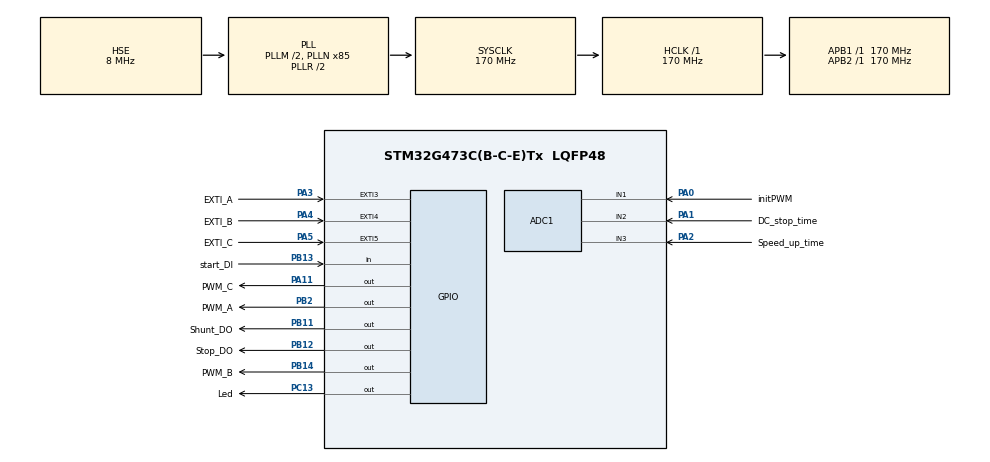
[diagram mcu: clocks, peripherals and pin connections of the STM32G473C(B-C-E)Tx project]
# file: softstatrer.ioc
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ADC1.Channel-0\#ChannelRegularConversion=ADC_CHANNEL_1
ADC1.Channel-1\#ChannelRegularConversion=ADC_CHANNEL_2
ADC1.Channel-2\#ChannelRegularConversion=ADC_CHANNEL_3
ADC1.NbrOfConversion=3
ADC1.NbrOfConversionFlag=1
ADC1.OffsetNumber-0\#ChannelRegularConversion=ADC_OFFSET_NONE
ADC1.OffsetNumber-1\#ChannelRegularConversion=ADC_OFFSET_NONE
ADC1.OffsetNumber-2\#ChannelRegularConversion=ADC_OFFSET_NONE
ADC1.Rank-0\#ChannelRegularConversion=1
ADC1.Rank-1\#ChannelRegularConversion=2
ADC1.Rank-2\#ChannelRegularConversion=3
ADC1.SamplingTime-0\#ChannelRegularConversion=ADC_SAMPLETIME_640CYCLES_5
ADC1.SamplingTime-1\#ChannelRegularConversion=ADC_SAMPLETIME_640CYCLES_5
ADC1.SamplingTime-2\#ChannelRegularConversion=ADC_SAMPLETIME_640CYCLES_5
ADC1.master=1
Dma.ADC1.0.Direction=DMA_PERIPH_TO_MEMORY
Dma.ADC1.0.EventEnable=DISABLE
Dma.ADC1.0.Instance=DMA1_Channel1
Dma.ADC1.0.MemDataAlignment=DMA_MDATAALIGN_HALFWORD
Dma.ADC1.0.MemInc=DMA_MINC_ENABLE
Dma.ADC1.0.Mode=DMA_NORMAL
Dma.ADC1.0.PeriphDataAlignment=DMA_PDATAALIGN_HALFWORD
Dma.ADC1.0.PeriphInc=DMA_PINC_DISABLE
Dma.ADC1.0.Polarity=HAL_DMAMUX_REQ_GEN_RISING
Dma.ADC1.0.Priority=DMA_PRIORITY_LOW
Dma.ADC1.0.RequestNumber=1
Dma.ADC1.0.SignalID=NONE
Dma.ADC1.0.SyncEnable=DISABLE
Dma.ADC1.0.SyncPolarity=HAL_DMAMUX_SYNC_NO_EVENT
Dma.ADC1.0.SyncRequestNumber=1
Dma.ADC1.0.SyncSignalID=NONE
Dma.Request0=ADC1
FREERTOS.Tasks01=mainTask,24,2048,StartmainTask,Default,NULL,Dynamic,NULL,NULL
FREERTOS.configTOTAL_HEAP_SIZE=65535
Mcu.Family=STM32G4
Mcu.Name=STM32G473C(B-C-E)Tx
Mcu.Package=LQFP48
NVIC.DMA1_Channel1_IRQn=true\:5\:0\:false\:false\:true\:true\:false\:true\:true
NVIC.EXTI3_IRQn=true\:5\:0\:false\:false\:true\:true\:true\:true\:true
NVIC.EXTI4_IRQn=true\:5\:0\:false\:false\:true\:true\:true\:true\:true
NVIC.EXTI9_5_IRQn=true\:5\:0\:false\:false\:true\:true\:true\:true\:true
NVIC.PriorityGroup=NVIC_PRIORITYGROUP_4
NVIC.TIM1_TRG_COM_TIM17_IRQn=true\:5\:0\:false\:false\:true\:true\:false\:true\:true
NVIC.TIM3_IRQn=true\:5\:0\:false\:false\:true\:true\:true\:true\:true
NVIC.TIM4_IRQn=true\:5\:0\:false\:false\:true\:true\:true\:true\:true
NVIC.TIM8_UP_IRQn=true\:5\:0\:false\:false\:true\:true\:true\:true\:true
NVIC.TimeBase=TIM1_TRG_COM_TIM17_IRQn
NVIC.TimeBaseIP=TIM17
PA0.GPIO_Label=initPWM
PA0.Mode=IN1-Single-Ended
PA0.Signal=ADC1_IN1
PA1.GPIO_Label=DC_stop_time
PA1.Mode=IN2-Single-Ended
PA1.Signal=ADC1_IN2
PA11.GPIO_Label=PWM_C
PA11.GPIO_ModeDefaultOutputPP=GPIO_MODE_OUTPUT_PP
PA11.GPIO_PuPd=GPIO_NOPULL
PA11.GPIO_Speed=GPIO_SPEED_FREQ_HIGH
PA11.PinState=GPIO_PIN_RESET
PA11.Signal=GPIO_Output
PA13.Mode=Trace_Asynchronous_SW
PA13.Signal=SYS_JTMS-SWDIO
PA14.Mode=Trace_Asynchronous_SW
PA14.Signal=SYS_JTCK-SWCLK
PA2.GPIO_Label=Speed_up_time
PA2.Mode=IN3-Single-Ended
PA2.Signal=ADC1_IN3
PA3.GPIO_Label=EXTI_A
PA3.GPIO_ModeDefaultEXTI=GPIO_MODE_IT_RISING_FALLING
PA3.Signal=GPXTI3
PA4.GPIO_Label=EXTI_B
PA4.GPIO_ModeDefaultEXTI=GPIO_MODE_IT_RISING_FALLING
PA4.Signal=GPXTI4
PA5.GPIO_Label=EXTI_C
PA5.GPIO_ModeDefaultEXTI=GPIO_MODE_IT_RISING_FALLING
PA5.Signal=GPXTI5
PB11.GPIO_Label=Shunt_DO
PB11.Signal=GPIO_Output
PB12.GPIO_Label=Stop_DO
PB12.Signal=GPIO_Output
PB13.GPIO_Label=start_DI
PB13.Signal=GPIO_Input
PB14.GPIO_Label=PWM_B
PB14.GPIO_ModeDefaultOutputPP=GPIO_MODE_OUTPUT_PP
PB14.GPIO_PuPd=GPIO_NOPULL
PB14.GPIO_Speed=GPIO_SPEED_FREQ_HIGH
PB14.PinState=GPIO_PIN_RESET
PB14.Signal=GPIO_Output
PB2.GPIO_Label=PWM_A
PB2.GPIO_ModeDefaultOutputPP=GPIO_MODE_OUTPUT_PP
PB2.GPIO_PuPd=GPIO_NOPULL
PB2.GPIO_Speed=GPIO_SPEED_FREQ_HIGH
PB2.PinState=GPIO_PIN_RESET
PB2.Signal=GPIO_Output
PB3.Mode=Trace_Asynchronous_SW
PB3.Signal=SYS_JTDO-SWO
PC13.GPIO_Label=Led
PC13.GPIO_ModeDefaultOutputPP=GPIO_MODE_OUTPUT_OD
PC13.GPIO_PuPd=GPIO_NOPULL
PC13.Signal=GPIO_Output
PF0-OSC_IN.Mode=HSE-External-Oscillator
PF0-OSC_IN.Signal=RCC_OSC_IN
PF1-OSC_OUT.Mode=HSE-External-Oscillator
PF1-OSC_OUT.Signal=RCC_OSC_OUT
ProjectManager.HeapSize=0x200
ProjectManager.StackSize=0x400
ProjectManager.TargetToolchain=EWARM V8.50
RCC.ADC12Freq_Value=170000000
RCC.ADC345Freq_Value=170000000
RCC.AHBFreq_Value=170000000
RCC.APB1Freq_Value=170000000
RCC.APB1TimFreq_Value=170000000
RCC.APB2Freq_Value=170000000
RCC.APB2TimFreq_Value=170000000
RCC.CortexFreq_Value=170000000
RCC.EXTERNAL_CLOCK_VALUE=12288000
RCC.HCLKFreq_Value=170000000
RCC.HSE_VALUE=8000000
RCC.HSI48_VALUE=48000000
RCC.HSI_VALUE=16000000
RCC.LSE_VALUE=32768
RCC.PLLM=RCC_PLLM_DIV2
RCC.PLLN=85
RCC.PLLSourceVirtual=RCC_PLLSOURCE_HSE
RCC.SYSCLKFreq_VALUE=170000000
RCC.SYSCLKSource=RCC_SYSCLKSOURCE_PLLCLK
RCC.USBFreq_Value=170000000
RCC.VCOOutputFreq_Value=340000000
TIM3.AutoReloadPreload=TIM_AUTORELOAD_PRELOAD_ENABLE
TIM3.PeriodNoDither=9000
TIM3.Prescaler=169
TIM4.AutoReloadPreload=TIM_AUTORELOAD_PRELOAD_ENABLE
TIM4.PeriodNoDither=9000
TIM4.Prescaler=169
TIM8.PeriodNoDither=9000
TIM8.Prescaler=169
VP_FREERTOS_VS_CMSIS_V2.Mode=CMSIS_V2
VP_SYS_VS_DBSignals.Mode=DisableDeadBatterySignals
VP_SYS_VS_tim17.Mode=TIM17
VP_TIM3_VS_ClockSourceINT.Mode=Internal
VP_TIM4_VS_ClockSourceINT.Mode=Internal
VP_TIM8_VS_ClockSourceINT.Mode=Internal
board=custom

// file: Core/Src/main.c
/* USER CODE BEGIN Header */
/**
  ******************************************************************************
  * @file           : main.c
  * @brief          : Main program body
  ******************************************************************************
  * @attention
  *
  * Copyright (c) 2025 STMicroelectronics.
  * All rights reserved.
  *
  * This software is licensed under terms that can be found in the LICENSE file
  * in the root directory of this software component.
  * If no LICENSE file comes with this software, it is provided AS-IS.
  *
  ******************************************************************************
  */
/* USER CODE END Header */
#include "main.h"
#include "cmsis_os.h"
#include "adc.h"
#include "dma.h"
#include "tim.h"
#include "gpio.h"

void SystemClock_Config(void);
void MX_FREERTOS_Init(void);

/* USER CODE BEGIN 0 */
  int __io_putchar(int ch)
  {
    // Write character to ITM ch.0
    ITM_SendChar(ch);
    return(ch);
  }
/* USER CODE END 0 */

int main(void)
{

  /* MCU Configuration--------------------------------------------------------*/

  /* Reset of all peripherals, Initializes the Flash interface and the Systick. */
  HAL_Init();

  /* Configure the system clock */
  SystemClock_Config();

  /* Initialize all configured peripherals */
  MX_GPIO_Init();
  MX_DMA_Init();
  MX_ADC1_Init();
  MX_TIM4_Init();
  MX_TIM3_Init();
  MX_TIM8_Init();

  /* Init scheduler */
  osKernelInitialize();

  /* Call init function for freertos objects (in cmsis_os2.c) */
  MX_FREERTOS_Init();

  /* Start scheduler */
  osKernelStart();

  /* We should never get here as control is now taken by the scheduler */

  /* Infinite loop */
  while (1)
  {

  }
}

void SystemClock_Config(void)
{
  RCC_OscInitTypeDef RCC_OscInitStruct = {0};
  RCC_ClkInitTypeDef RCC_ClkInitStruct = {0};

  /** Configure the main internal regulator output voltage
  */
  HAL_PWREx_ControlVoltageScaling(PWR_REGULATOR_VOLTAGE_SCALE1_BOOST);

  /** Initializes the RCC Oscillators according to the specified parameters
  * in the RCC_OscInitTypeDef structure.
  */
  RCC_OscInitStruct.OscillatorType = RCC_OSCILLATORTYPE_HSE;
  RCC_OscInitStruct.HSEState = RCC_HSE_ON;
  RCC_OscInitStruct.PLL.PLLState = RCC_PLL_ON;
  RCC_OscInitStruct.PLL.PLLSource = RCC_PLLSOURCE_HSE;
  RCC_OscInitStruct.PLL.PLLM = RCC_PLLM_DIV2;
  RCC_OscInitStruct.PLL.PLLN = 85;
  RCC_OscInitStruct.PLL.PLLP = RCC_PLLP_DIV2;
  RCC_OscInitStruct.PLL.PLLQ = RCC_PLLQ_DIV2;
  RCC_OscInitStruct.PLL.PLLR = RCC_PLLR_DIV2;
  if (HAL_RCC_OscConfig(&RCC_OscInitStruct) != HAL_OK)
  {
    Error_Handler();
  }

  /** Initializes the CPU, AHB and APB buses clocks
  */
  RCC_ClkInitStruct.ClockType = RCC_CLOCKTYPE_HCLK|RCC_CLOCKTYPE_SYSCLK
                              |RCC_CLOCKTYPE_PCLK1|RCC_CLOCKTYPE_PCLK2;
  RCC_ClkInitStruct.SYSCLKSource = RCC_SYSCLKSOURCE_PLLCLK;
  RCC_ClkInitStruct.AHBCLKDivider = RCC_SYSCLK_DIV1;
  RCC_ClkInitStruct.APB1CLKDivider = RCC_HCLK_DIV1;
  RCC_ClkInitStruct.APB2CLKDivider = RCC_HCLK_DIV1;

  if (HAL_RCC_ClockConfig(&RCC_ClkInitStruct, FLASH_LATENCY_4) != HAL_OK)
  {
    Error_Handler();
  }
}

void HAL_TIM_PeriodElapsedCallback(TIM_HandleTypeDef *htim)
{
  if (htim->Instance == TIM17) {
    HAL_IncTick();
  }
}

void Error_Handler(void)
{
  __disable_irq();
  while (1)
  {
  }
}

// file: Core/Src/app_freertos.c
/* USER CODE BEGIN Header */
/**
  ******************************************************************************
  * File Name          : app_freertos.c
  * Description        : Code for freertos applications
  ******************************************************************************
  * @attention
  *
  * Copyright (c) 2025 STMicroelectronics.
  * All rights reserved.
  *
  * This software is licensed under terms that can be found in the LICENSE file
  * in the root directory of this software component.
  * If no LICENSE file comes with this software, it is provided AS-IS.
  *
  ******************************************************************************
  */
/* USER CODE END Header */

#include "FreeRTOS.h"
#include "task.h"
#include "main.h"
#include "cmsis_os.h"

/* USER CODE BEGIN Includes */
extern ADC_HandleTypeDef hadc1;
DeviceStatus_t status=Device_Idle;
extern TIM_HandleTypeDef htim4;
extern TIM_HandleTypeDef htim3;
extern TIM_HandleTypeDef htim8;
uint16_t ARR_TIM=9000;
/* USER CODE END Includes */

/* USER CODE BEGIN PTD */
void SetPWMAll(uint16_t pwm);
/* USER CODE END PTD */

/* Definitions for mainTask */
osThreadId_t mainTaskHandle;
const osThreadAttr_t mainTask_attributes = {
  .name = "mainTask",
  .priority = (osPriority_t) osPriorityNormal,
  .stack_size = 2048 * 4
};

void StartmainTask(void *argument);

void MX_FREERTOS_Init(void); /* (MISRA C 2004 rule 8.1) */

void MX_FREERTOS_Init(void) {

  /* Create the thread(s) */
  /* creation of mainTask */
  mainTaskHandle = osThreadNew(StartmainTask, NULL, &mainTask_attributes);

}

void StartmainTask(void *argument)
{
  /* USER CODE BEGIN StartmainTask */
  //шим где 0 это 100% а >9000 это ноль
  osDelay(2);
  uint16_t dma[3];
  HAL_ADCEx_Calibration_Start(&hadc1,ADC_SINGLE_ENDED);
  HAL_ADC_Start_DMA(&hadc1,(uint32_t*)&dma,3);
  osDelay(2);
  HAL_ADC_Stop(&hadc1);
  HAL_ADC_Stop_DMA(&hadc1);
  //uint16_t init_pwm =9000-dma[0]*2;
  uint32_t dc_stop_time=(uint32_t)dma[1];         //0-4 секунды
  uint16_t speed_up_time=dma[2];        //0-4 секунды
  uint32_t time=osKernelGetTickCount();
  static uint16_t led_cnt = 0;
  /* Infinite loop */
  for(;;)
  {
 process_status:
    switch (status){
    case Device_Idle:
      if(HAL_GPIO_ReadPin(start_DI_GPIO_Port,start_DI_Pin)==GPIO_PIN_RESET)
      {
          time=osKernelGetTickCount();
          status=Device_Speed_up;
      }
      break;
    case Device_Speed_up:
      led_cnt+=10;  //мыргаем почаще когда ждем тормоз
      if(HAL_GPIO_ReadPin(start_DI_GPIO_Port,start_DI_Pin)==GPIO_PIN_SET)
      {
        if ((osKernelGetTickCount()-time)<3000){
          status=Device_Idle;           //слишком короткий промежуток чтобы тормозить, даже не разогнались, пропускаем торможение
        }else{
          status=Device_Stop;
          goto process_status;
        }

      }
      break;
    case Device_Stop:
      HAL_GPIO_WritePin(Stop_DO_GPIO_Port,Stop_DO_Pin,GPIO_PIN_SET);
      osDelay(dc_stop_time);
      HAL_GPIO_WritePin(Stop_DO_GPIO_Port,Stop_DO_Pin,GPIO_PIN_RESET);
      status=Device_Idle;
      break;
    }
    osDelay(1);

    if (++led_cnt >= 500) {
      led_cnt = 0;
      HAL_GPIO_TogglePin(Led_GPIO_Port, Led_Pin);
    }
  }
  /* USER CODE END StartmainTask */
}

/* USER CODE BEGIN Application */
void SetPWMAll(uint16_t pwm)
{
//  __HAL_TIM_SET_COMPARE(&htim5, TIM_CHANNEL_1, pwm);
//  __HAL_TIM_SET_COMPARE(&htim15, TIM_CHANNEL_1, pwm);
//  __HAL_TIM_SET_COMPARE(&htim4, TIM_CHANNEL_1, pwm);
}
/* USER CODE END Application */
